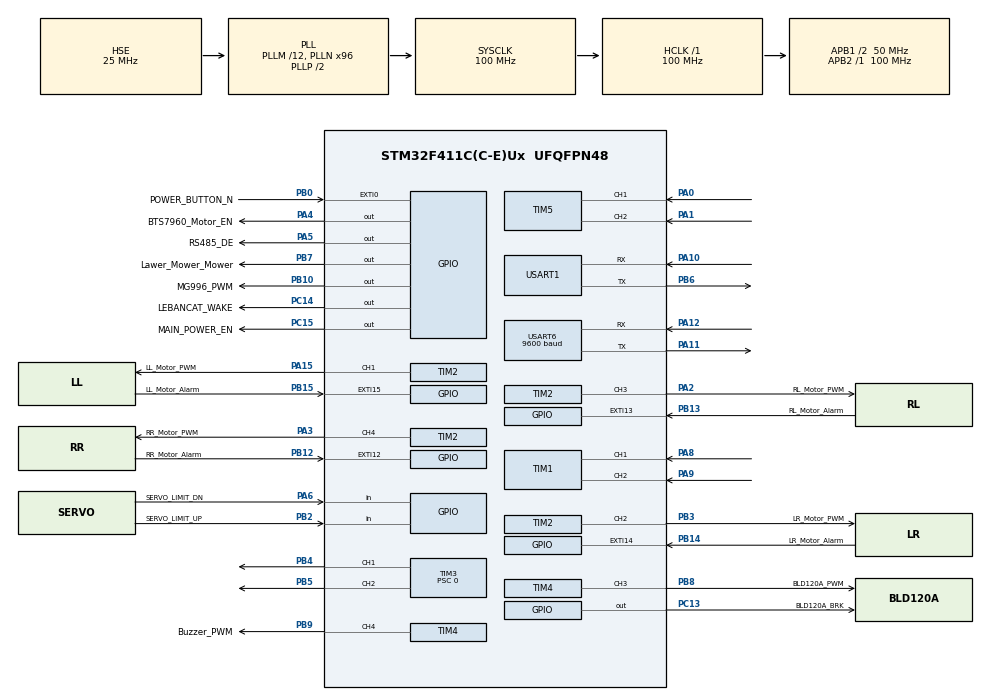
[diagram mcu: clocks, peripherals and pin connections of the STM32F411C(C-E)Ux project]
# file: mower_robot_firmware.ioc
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Dma.Request0=USART1_RX
Dma.Request1=USART1_TX
Dma.Request2=TIM3_CH1/TRIG
Dma.Request3=TIM3_CH2
Dma.TIM3_CH1/TRIG.2.Direction=DMA_MEMORY_TO_PERIPH
Dma.TIM3_CH1/TRIG.2.FIFOMode=DMA_FIFOMODE_DISABLE
Dma.TIM3_CH1/TRIG.2.Instance=DMA1_Stream4
Dma.TIM3_CH1/TRIG.2.MemDataAlignment=DMA_MDATAALIGN_HALFWORD
Dma.TIM3_CH1/TRIG.2.MemInc=DMA_MINC_ENABLE
Dma.TIM3_CH1/TRIG.2.Mode=DMA_NORMAL
Dma.TIM3_CH1/TRIG.2.PeriphDataAlignment=DMA_PDATAALIGN_HALFWORD
Dma.TIM3_CH1/TRIG.2.PeriphInc=DMA_PINC_DISABLE
Dma.TIM3_CH1/TRIG.2.Priority=DMA_PRIORITY_LOW
Dma.TIM3_CH2.3.Direction=DMA_MEMORY_TO_PERIPH
Dma.TIM3_CH2.3.FIFOMode=DMA_FIFOMODE_DISABLE
Dma.TIM3_CH2.3.Instance=DMA1_Stream5
Dma.TIM3_CH2.3.MemDataAlignment=DMA_MDATAALIGN_HALFWORD
Dma.TIM3_CH2.3.MemInc=DMA_MINC_ENABLE
Dma.TIM3_CH2.3.Mode=DMA_NORMAL
Dma.TIM3_CH2.3.PeriphDataAlignment=DMA_PDATAALIGN_HALFWORD
Dma.TIM3_CH2.3.PeriphInc=DMA_PINC_DISABLE
Dma.TIM3_CH2.3.Priority=DMA_PRIORITY_LOW
Dma.USART1_RX.0.Direction=DMA_PERIPH_TO_MEMORY
Dma.USART1_RX.0.FIFOMode=DMA_FIFOMODE_DISABLE
Dma.USART1_RX.0.Instance=DMA2_Stream2
Dma.USART1_RX.0.MemDataAlignment=DMA_MDATAALIGN_BYTE
Dma.USART1_RX.0.MemInc=DMA_MINC_ENABLE
Dma.USART1_RX.0.Mode=DMA_CIRCULAR
Dma.USART1_RX.0.PeriphDataAlignment=DMA_PDATAALIGN_BYTE
Dma.USART1_RX.0.PeriphInc=DMA_PINC_DISABLE
Dma.USART1_RX.0.Priority=DMA_PRIORITY_HIGH
Dma.USART1_TX.1.Direction=DMA_MEMORY_TO_PERIPH
Dma.USART1_TX.1.FIFOMode=DMA_FIFOMODE_DISABLE
Dma.USART1_TX.1.Instance=DMA2_Stream7
Dma.USART1_TX.1.MemDataAlignment=DMA_MDATAALIGN_BYTE
Dma.USART1_TX.1.MemInc=DMA_MINC_ENABLE
Dma.USART1_TX.1.Mode=DMA_NORMAL
Dma.USART1_TX.1.PeriphDataAlignment=DMA_PDATAALIGN_BYTE
Dma.USART1_TX.1.PeriphInc=DMA_PINC_DISABLE
Dma.USART1_TX.1.Priority=DMA_PRIORITY_HIGH
FREERTOS.Tasks01=defaultTask,24,128,StartDefaultTask,Default,NULL,Dynamic,NULL,NULL
FREERTOS.configUSE_NEWLIB_REENTRANT=1
Mcu.Family=STM32F4
Mcu.Name=STM32F411C(C-E)Ux
Mcu.Package=UFQFPN48
NVIC.DMA1_Stream4_IRQn=true\:5\:0\:false\:false\:true\:true\:false\:true\:true
NVIC.DMA1_Stream5_IRQn=true\:5\:0\:false\:false\:true\:true\:false\:true\:true
NVIC.DMA2_Stream2_IRQn=true\:5\:0\:false\:false\:true\:true\:false\:true\:true
NVIC.DMA2_Stream7_IRQn=true\:5\:0\:false\:false\:true\:true\:false\:true\:true
NVIC.EXTI0_IRQn=true\:5\:0\:false\:false\:true\:true\:true\:true\:true
NVIC.EXTI15_10_IRQn=true\:5\:0\:false\:false\:true\:true\:true\:true\:true
NVIC.PriorityGroup=NVIC_PRIORITYGROUP_4
NVIC.TIM1_UP_TIM10_IRQn=true\:5\:0\:false\:false\:true\:true\:true\:true\:true
NVIC.TIM1_TRG_COM_TIM11_IRQn=true\:5\:0\:false\:false\:true\:false\:false\:true\:true
NVIC.TIM3_IRQn=true\:5\:0\:false\:false\:true\:true\:true\:true\:true
NVIC.TimeBase=TIM1_TRG_COM_TIM11_IRQn
NVIC.TimeBaseIP=TIM11
NVIC.USART1_IRQn=true\:5\:0\:false\:false\:true\:true\:true\:true\:true
NVIC.USART6_IRQn=true\:5\:0\:false\:false\:true\:true\:true\:true\:true
PA0-WKUP.Signal=S_TIM5_CH1
PA1.Signal=S_TIM5_CH2
PA10.Mode=Asynchronous
PA10.Signal=USART1_RX
PA11.Mode=Asynchronous
PA11.Signal=USART6_TX
PA12.GPIO_PuPd=GPIO_PULLUP
PA12.Mode=Asynchronous
PA12.Signal=USART6_RX
PA13.Mode=Serial_Wire
PA13.Signal=SYS_JTMS-SWDIO
PA14.Mode=Serial_Wire
PA14.Signal=SYS_JTCK-SWCLK
PA15.GPIO_Label=LL_Motor_PWM
PA15.Signal=S_TIM2_CH1_ETR
PA2.GPIO_Label=RL_Motor_PWM
PA2.Signal=S_TIM2_CH3
PA3.GPIO_Label=RR_Motor_PWM
PA3.Signal=S_TIM2_CH4
PA4.GPIO_Label=BTS7960_Motor_EN
PA4.Signal=GPIO_Output
PA5.GPIO_Label=RS485_DE
PA5.PinState=GPIO_PIN_RESET
PA5.Signal=GPIO_Output
PA8.Signal=S_TIM1_CH1
PA9.Signal=S_TIM1_CH2
PB0.GPIO_Label=POWER_BUTTON_N
PB0.GPIO_PuPd=GPIO_PULLUP
PB0.Signal=GPXTI0
PB2.GPIO_PuPd=GPIO_PULLUP
PB2.GPIO_Label=SERVO_LIMIT_UP
PB2.Signal=GPIO_Input
PA6.GPIO_PuPd=GPIO_PULLUP
PA6.GPIO_Label=SERVO_LIMIT_DN
PA6.Signal=GPIO_Input
PB12.GPIO_Label=RR_Motor_Alarm
PB12.GPIO_PuPd=GPIO_PULLDOWN
PB12.Signal=GPXTI12
PB13.GPIO_Label=RL_Motor_Alarm
PB13.GPIO_PuPd=GPIO_PULLDOWN
PB13.Signal=GPXTI13
PB14.GPIO_Label=LR_Motor_Alarm
PB14.GPIO_PuPd=GPIO_PULLDOWN
PB14.Signal=GPXTI14
PB15.GPIO_Label=LL_Motor_Alarm
PB15.GPIO_PuPd=GPIO_PULLDOWN
PB15.Signal=GPXTI15
PB3.GPIO_Label=LR_Motor_PWM
PB3.Signal=S_TIM2_CH2
PB4.Signal=S_TIM3_CH1
PB5.Signal=S_TIM3_CH2
PB6.Mode=Asynchronous
PB6.Signal=USART1_TX
PB7.GPIO_Label=Lawer_Mower_Mower
PB7.GPIO_ModeDefaultOutputPP=GPIO_MODE_OUTPUT_OD
PB7.Signal=GPIO_Output
PB8.GPIO_Label=BLD120A_PWM
PB8.Signal=S_TIM4_CH3
PB9.GPIO_Label=Buzzer_PWM
PB9.Signal=S_TIM4_CH4
PB10.GPIO_Label=MG996_PWM
PB10.Signal=GPIO_Output
PC13-ANTI_TAMP.GPIO_Label=BLD120A_BRK
PC13-ANTI_TAMP.GPIO_ModeDefaultOutputPP=GPIO_MODE_OUTPUT_OD
PC13-ANTI_TAMP.PinState=GPIO_PIN_RESET
PC13-ANTI_TAMP.Signal=GPIO_Output
PC14-OSC32_IN.GPIO_Label=LEBANCAT_WAKE
PC14-OSC32_IN.Signal=GPIO_Output
PC15-OSC32_OUT.GPIO_Label=MAIN_POWER_EN
PC15-OSC32_OUT.PinState=GPIO_PIN_SET
PC15-OSC32_OUT.Signal=GPIO_Output
PH0\ -\ OSC_IN.Mode=HSE-External-Oscillator
PH0\ -\ OSC_IN.Signal=RCC_OSC_IN
PH1\ -\ OSC_OUT.Mode=HSE-External-Oscillator
PH1\ -\ OSC_OUT.Signal=RCC_OSC_OUT
ProjectManager.HeapSize=0x200
ProjectManager.StackSize=0x400
ProjectManager.TargetToolchain=STM32CubeIDE
RCC.48MHZClocksFreq_Value=50000000
RCC.AHBFreq_Value=100000000
RCC.APB1CLKDivider=RCC_HCLK_DIV2
RCC.APB1Freq_Value=50000000
RCC.APB1TimFreq_Value=100000000
RCC.APB2Freq_Value=100000000
RCC.APB2TimFreq_Value=100000000
RCC.CortexFreq_Value=100000000
RCC.HCLKFreq_Value=100000000
RCC.HSE_VALUE=25000000
RCC.HSI_VALUE=16000000
RCC.LSE_VALUE=32768
RCC.PLLM=12
RCC.PLLN=96
RCC.PLLSourceVirtual=RCC_PLLSOURCE_HSE
RCC.SYSCLKFreq_VALUE=100000000
RCC.SYSCLKSource=RCC_SYSCLKSOURCE_PLLCLK
RCC.VCOOutputFreq_Value=200000000
SH.S_TIM1_CH1.0=TIM1_CH1,Encoder_Interface
SH.S_TIM1_CH2.0=TIM1_CH2,Encoder_Interface
SH.S_TIM2_CH1_ETR.0=TIM2_CH1,PWM Generation1 CH1
SH.S_TIM2_CH2.0=TIM2_CH2,PWM Generation2 CH2
SH.S_TIM2_CH3.0=TIM2_CH3,PWM Generation3 CH3
SH.S_TIM2_CH4.0=TIM2_CH4,PWM Generation4 CH4
SH.S_TIM3_CH1.0=TIM3_CH1,PWM Generation1 CH1
SH.S_TIM3_CH2.0=TIM3_CH2,PWM Generation2 CH2
SH.S_TIM4_CH3.0=TIM4_CH3,PWM Generation3 CH3
SH.S_TIM4_CH4.0=TIM4_CH4,PWM Generation4 CH4
SH.S_TIM5_CH1.0=TIM5_CH1,Encoder_Interface
SH.S_TIM5_CH2.0=TIM5_CH2,Encoder_Interface
TIM2.Channel-PWM\ Generation1\ CH1=TIM_CHANNEL_1
TIM2.Channel-PWM\ Generation2\ CH2=TIM_CHANNEL_2
TIM2.Channel-PWM\ Generation3\ CH3=TIM_CHANNEL_3
TIM2.Channel-PWM\ Generation4\ CH4=TIM_CHANNEL_4
TIM2.Period=200-1
TIM2.Prescaler=25-1
TIM3.Channel-PWM\ Generation1\ CH1=TIM_CHANNEL_1
TIM3.Channel-PWM\ Generation2\ CH2=TIM_CHANNEL_2
TIM3.Period=125-1
TIM3.Prescaler=0
TIM4.Channel-PWM\ Generation3\ CH3=TIM_CHANNEL_3
TIM4.Channel-PWM\ Generation4\ CH4=TIM_CHANNEL_4
TIM4.Period=200-1
TIM4.Prescaler=250-1
TIM4.Pulse-PWM\ Generation3\ CH3=0
TIM4.Pulse-PWM\ Generation4\ CH4=0
TIM10.OCMode_1=TIM_OCMODE_TIMING
TIM10.Period=20000-1
TIM10.Prescaler=100-1
TIM10.Pulse-Output\ Compare1\ No\ Output=1500
USART1.VirtualMode=VM_ASYNC
USART6.BaudRate=9600
USART6.VirtualMode=VM_ASYNC
VP_FREERTOS_VS_CMSIS_V2.Mode=CMSIS_V2
VP_SYS_VS_tim11.Mode=TIM11
VP_TIM3_VS_ClockSourceINT.Mode=Internal
VP_TIM10_VS_no_output1.Mode=Output Compare1 No Output
board=custom

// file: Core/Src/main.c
/* USER CODE BEGIN Header */
/**
 ******************************************************************************
 * @file           : main.c
 * @brief          : Main program body
 ******************************************************************************
 * @attention
 *
 * Copyright (c) 2026 STMicroelectronics.
 * All rights reserved.
 *
 * This software is licensed under terms that can be found in the LICENSE file
 * in the root directory of this software component.
 * If no LICENSE file comes with this software, it is provided AS-IS.
 *
 ******************************************************************************
 */
/* USER CODE END Header */
#include "main.h"
#include "cmsis_os.h"
#include "dma.h"
#include "tim.h"
#include "usart.h"
#include "gpio.h"

/* USER CODE BEGIN Includes */
#include "board_modules.hpp"
#include "motor.hpp"
#include "ws2812.h"
#include "boot_animation.hpp"
#include "boot_shared.h"

/* USER CODE END Includes */

void SystemClock_Config(void);
void MX_FREERTOS_Init(void);

int main(void)
{

  /* USER CODE BEGIN 1 */
  /* We run behind the UART bootloader. SystemInit() already relocated the
   * vector table (USER_VECT_TAB_ADDRESS in system_stm32f4xx.c); repeat it
   * here so a CubeMX regeneration of that file cannot silently break boot. */
  SCB->VTOR = BOOT_APP_START_ADDRESS;
  /* USER CODE END 1 */

  /* MCU Configuration--------------------------------------------------------*/

  /* Reset of all peripherals, Initializes the Flash interface and the Systick. */
  HAL_Init();

  /* Configure the system clock */
  SystemClock_Config();

  /* Initialize all configured peripherals */
  MX_GPIO_Init();
  MX_DMA_Init();
  MX_USART1_UART_Init();
  MX_USART6_UART_Init();
  MX_TIM2_Init();
  MX_TIM3_Init();
  MX_TIM1_Init();
  MX_TIM5_Init();
  MX_TIM4_Init();
  MX_TIM10_Init();
  /* USER CODE BEGIN 2 */
  MowerMotor_Init();
  BoardModules_Init();

  BootAnimation_Start(); /* rendered from the 20 ms WS2812 loop in MotorTask */
  /* USER CODE END 2 */

  /* Init scheduler */
  osKernelInitialize();  /* Call init function for freertos objects (in cmsis_os2.c) */
  MX_FREERTOS_Init();

  /* Start scheduler */
  osKernelStart();

  /* We should never get here as control is now taken by the scheduler */

  /* Infinite loop */
  while (1) {

    /* USER CODE BEGIN 3 */
    //	  HAL_UART_Transmit_DMA(&huart1, &ptr, 1);
    //	  printf("hello fxrbindi \r\n");
    //	  HAL_Delay(1000);
  }
  /* USER CODE END 3 */
}

void SystemClock_Config(void)
{
  RCC_OscInitTypeDef RCC_OscInitStruct = {0};
  RCC_ClkInitTypeDef RCC_ClkInitStruct = {0};

  /** Configure the main internal regulator output voltage
  */
  __HAL_RCC_PWR_CLK_ENABLE();
  __HAL_PWR_VOLTAGESCALING_CONFIG(PWR_REGULATOR_VOLTAGE_SCALE1);

  /** Initializes the RCC Oscillators according to the specified parameters
  * in the RCC_OscInitTypeDef structure.
  */
  RCC_OscInitStruct.OscillatorType = RCC_OSCILLATORTYPE_HSE;
  RCC_OscInitStruct.HSEState = RCC_HSE_ON;
  RCC_OscInitStruct.PLL.PLLState = RCC_PLL_ON;
  RCC_OscInitStruct.PLL.PLLSource = RCC_PLLSOURCE_HSE;
  RCC_OscInitStruct.PLL.PLLM = 12;
  RCC_OscInitStruct.PLL.PLLN = 96;
  RCC_OscInitStruct.PLL.PLLP = RCC_PLLP_DIV2;
  RCC_OscInitStruct.PLL.PLLQ = 4;
  if (HAL_RCC_OscConfig(&RCC_OscInitStruct) != HAL_OK)
  {
    Error_Handler();
  }

  /** Initializes the CPU, AHB and APB buses clocks
  */
  RCC_ClkInitStruct.ClockType = RCC_CLOCKTYPE_HCLK|RCC_CLOCKTYPE_SYSCLK
                              |RCC_CLOCKTYPE_PCLK1|RCC_CLOCKTYPE_PCLK2;
  RCC_ClkInitStruct.SYSCLKSource = RCC_SYSCLKSOURCE_PLLCLK;
  RCC_ClkInitStruct.AHBCLKDivider = RCC_SYSCLK_DIV1;
  RCC_ClkInitStruct.APB1CLKDivider = RCC_HCLK_DIV2;
  RCC_ClkInitStruct.APB2CLKDivider = RCC_HCLK_DIV1;

  if (HAL_RCC_ClockConfig(&RCC_ClkInitStruct, FLASH_LATENCY_3) != HAL_OK)
  {
    Error_Handler();
  }
}

void HAL_TIM_PeriodElapsedCallback(TIM_HandleTypeDef *htim)
{
  if (htim->Instance == TIM11)
  {
    HAL_IncTick();
  }
}

void Error_Handler(void)
{
  __disable_irq();
  while (1) {
  }
}
#ifdef USE_FULL_ASSERT
/**
  * @brief  Reports the name of the source file and the source line number
  *         where the assert_param error has occurred.
  * @param  file: pointer to the source file name
  * @param  line: assert_param error line source number
  * @retval None
  */
void assert_failed(uint8_t *file, uint32_t line)
{
  /* USER CODE BEGIN 6 */
  /* User can add his own implementation to report the file name and line
     number, ex: printf("Wrong parameters value: file %s on line %d\r\n", file,
     line) */
  /* USER CODE END 6 */
}
#endif /* USE_FULL_ASSERT */

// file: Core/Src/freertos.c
/* USER CODE BEGIN Header */
/**
 ******************************************************************************
 * File Name          : freertos.c
 * Description        : Code for freertos applications
 ******************************************************************************
 * @attention
 *
 * Copyright (c) 2026 STMicroelectronics.
 * All rights reserved.
 *
 * This software is licensed under terms that can be found in the LICENSE file
 * in the root directory of this software component.
 * If no LICENSE file comes with this software, it is provided AS-IS.
 *
 ******************************************************************************
 */
/* USER CODE END Header */

#include "FreeRTOS.h"
#include "task.h"
#include "main.h"
#include "cmsis_os.h"

/* USER CODE BEGIN Includes */
#include "board_modules.hpp"
#include "uart_interface.hpp"
/* USER CODE END Includes */

/* USER CODE BEGIN Variables */
osThreadId_t uartParserHandle, motorHandle, uartTxTaskHandle;
osMessageQueueId_t uartRxQueue, uartTxQueue;

/* USER CODE END Variables */
/* Definitions for defaultTask */
osThreadId_t defaultTaskHandle;
const osThreadAttr_t defaultTask_attributes = {
  .name = "defaultTask",
  .stack_size = 128 * 4,
  .priority = (osPriority_t) osPriorityLow,
};

/* USER CODE BEGIN FunctionPrototypes */
const osThreadAttr_t uartParserAttr = {
    .name = "uart_parser", .priority = osPriorityHigh, .stack_size = 2048};

const osThreadAttr_t motorAttr = {
    .name = "motor", .priority = osPriorityNormal, .stack_size = 2048};

const osThreadAttr_t uartTxAttr = {
    .name = "uart_tx", .priority = osPriorityHigh, .stack_size = 4096};

/* USER CODE END FunctionPrototypes */

void StartDefaultTask(void *argument);

void MX_FREERTOS_Init(void); /* (MISRA C 2004 rule 8.1) */

void MX_FREERTOS_Init(void) {

  /* USER CODE BEGIN RTOS_QUEUES */
  /* add queues, ... */
  uartRxQueue = osMessageQueueNew(32, sizeof(UartChunk_t), NULL);
  uartTxQueue =
      osMessageQueueNew(UART_TX_QUEUE_LEN, sizeof(UartMsg_t), NULL);
  /* USER CODE END RTOS_QUEUES */

  /* Create the thread(s) */
  /* creation of defaultTask */
  defaultTaskHandle = osThreadNew(StartDefaultTask, NULL, &defaultTask_attributes);

  /* USER CODE BEGIN RTOS_THREADS */
  /* add threads, ... */
  uartTxTaskHandle = osThreadNew(UartTxTask, NULL, &uartTxAttr);
  uartParserHandle = osThreadNew(UartParserTask, NULL, &uartParserAttr);
  motorHandle = osThreadNew(MotorTask, NULL, &motorAttr);

  /* USER CODE END RTOS_THREADS */

}

void StartDefaultTask(void *argument)
{
  /* USER CODE BEGIN StartDefaultTask */
  /* Infinite loop */
  /* PC13 is BLD120A_BRK now (open-drain, low = brake); no heartbeat toggle here. */
  for (;;) {
    BoardModules_Update10ms();
    osDelay(10);
  }
  /* USER CODE END StartDefaultTask */
}
